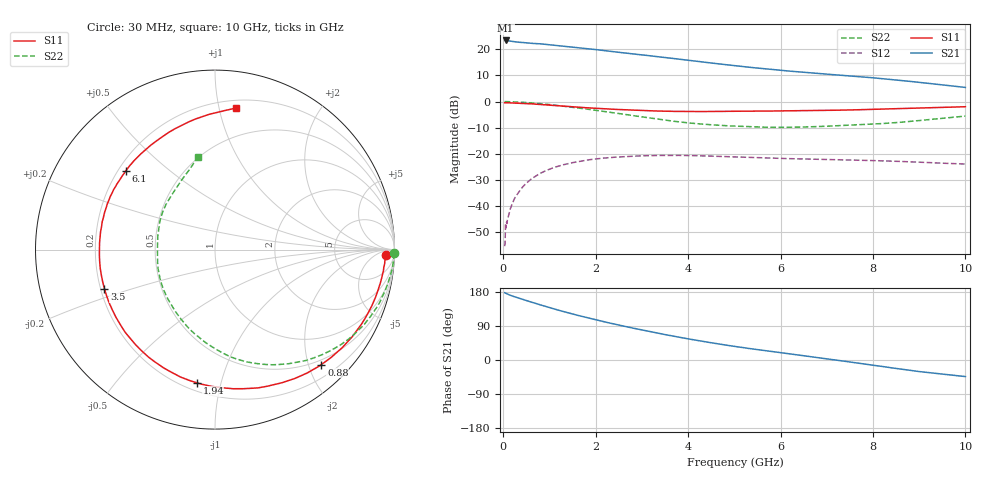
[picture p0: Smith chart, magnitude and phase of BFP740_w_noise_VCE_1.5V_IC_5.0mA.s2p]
! Infineon Technologies  Discrete & RF Semiconductors
! BFP740
! VCE =  1.5 V,  IC =  5.0 mA
! Common Emitter S-Parameters:  Jan 2016
# GHz  S  MA  R  50
!  f  S11  S21  S12  S22
! GHz  MAG  ANG  MAG  ANG  MAG  ANG  MAG  ANG
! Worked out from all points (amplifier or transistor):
!   229 points, 30 MHz to 10 GHz, reference 50 ohm
!   highest |S21| = 23.4 dB at 50 MHz (marker M1)
!   |S21| within 3 dB of that: start of sweep to 1.741 GHz
!   unconditionally stable (mu >= 1): 7.906 GHz to end of sweep
!   at 280 MHz: K = 0.08, MSG = 29.5 dB, |S12| = -36.1 dB
!   at 1.78 GHz: K = 0.23, MSG = 21.4 dB, |S12| = -22.5 dB
!   at 10 GHz: K = 1.19, MAG = 12.0 dB, |S12| = -23.9 dB
!   lowest NFmin = 0.44 dB at 450 MHz
!   S11 on the Smith chart (normalised r, x): 30 MHz: 29, -17; 880 MHz: 0.41, -2.22; 1.94 GHz: 0.25, -0.84; 3.5 GHz: 0.22, -0.16; 6.1 GHz: 0.23, +0.36; 10 GHz: 0.26, +1.12
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0.03  0.9509 -1.7  14.76 177.6  0.0017 83.9  0.9973 -1.2
0.04  0.9499 -2.3  14.68 177.0  0.0019 90.4  0.9979 -1.6
0.05  0.9528 -2.7  14.8 176.7  0.0046 106.2  0.9979 -2.1
0.16  0.9429 -9.1  14.4 170.5  0.0092 85.0  0.9913 -6.5
0.4  0.9242 -22.0  13.59 160.6  0.022 76.3  0.968 -15.7
0.88  0.8726 -47.2  12.57 142.7  0.0456 60.1  0.8987 -33.2
1.2  0.8303 -63.3  11.78 131.2  0.0582 50.2  0.8363 -44.4
1.6  0.7819 -82.5  10.85 118.2  0.0703 39.5  0.7577 -57.0
1.7  0.7709 -87.0  10.59 115.2  0.073 37.1  0.7388 -59.9
1.94  0.7487 -97.8  10.02 108.1  0.0784 31.5  0.6926 -67.3
2.24  0.7226 -111.0  9.348 99.2  0.0836 24.6  0.6369 -76.3
2.6  0.6964 -126.0  8.602 89.5  0.0879 17.5  0.5732 -86.4
3.1  0.6681 -145.8  7.67 76.7  0.0919 8.5  0.4934 -101.0
3.4  0.6566 -156.8  7.136 69.5  0.093 3.2  0.4548 -110.1
3.5  0.6536 -160.5  6.982 67.1  0.0929 1.8  0.4408 -113.3
4.2  0.6443 176.6  5.896 51.6  0.0918 -8.2  0.3769 -135.3
5.1  0.6523 154.9  4.777 34.2  0.0864 -17.8  0.3365 -159.6
6.1  0.6634 138.4  3.9 17.7  0.0809 -24.5  0.3213 177.3
6.8  0.6746 127.9  3.459 6.4  0.0783 -28.7  0.3313 162.0
8.4  0.7266 101.6  2.646 -20.6  0.0722 -37.2  0.3893 128.0
9  0.7542 92.5  2.337 -30.5  0.0691 -39.9  0.433 114.8
10  0.7963 81.7  1.865 -43.7  0.0637 -41.4  0.527 100.5
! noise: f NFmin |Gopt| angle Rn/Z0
0.45  0.44  0.4  11  0.23
0.9  0.45  0.41  17  0.22
1.5  0.49  0.39  26  0.21
1.9  0.52  0.38  42  0.21
2.4  0.55  0.38  46  0.2
3.5  0.65  0.35  68  0.18
5.5  0.87  0.24  164  0.16
10  1.52  0.55  -82  0.21
